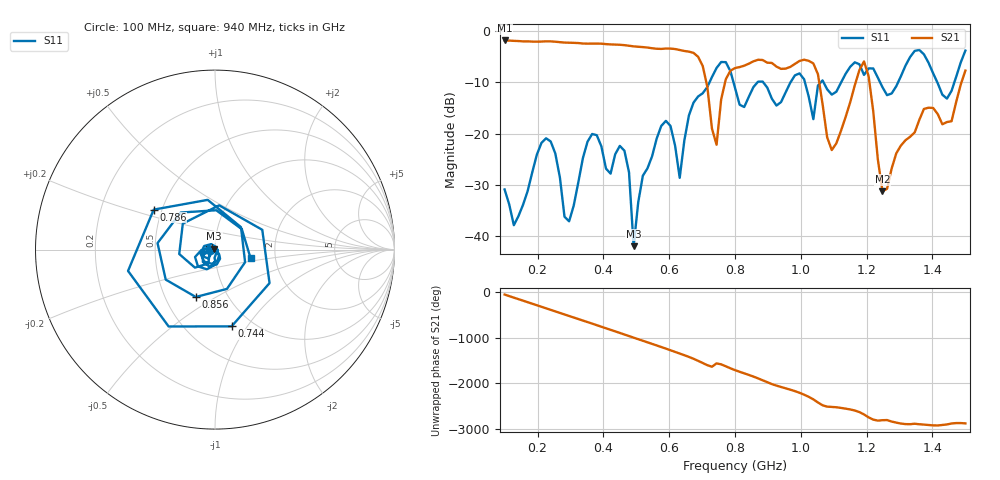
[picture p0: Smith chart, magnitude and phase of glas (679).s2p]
! NanoVNA-App
! Date: 2025-09-25 16:00:46
! Start: 100MHz Stop: 1,5GHz Points: 101
! S-Parameter data: F S11 S21 S12 S22
# Hz S RI R 50
!  Frequency  S11_Real  S11_Imag  S21_Real  S21_Imag  S12_Real  S12_Imag  S22_Real  S22_Imag
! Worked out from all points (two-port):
!   101 points, 100 MHz to 1.5 GHz, reference 50 ohm
!   highest |S21| = -1.80 dB at 100 MHz (marker M1); lowest = -31.3 dB at 1.248 GHz (marker M2)
!   |S21| within 3 dB of the highest: start of sweep to 684.4 MHz
!   lowest |S11| = -42.0 dB at 492 MHz (marker M3), VSWR 1.02, Z = 49.5 + j0.592 ohm
!   |S11| at or under -10 dB: start of sweep to 722.4 MHz; 795.5 MHz to 868.1 MHz (72.62 MHz wide, 8.73 % of centre); 885.9 MHz to 968.5 MHz (82.6 MHz wide, 8.91 % of centre) (the widest 3 of 7)
!   S12 and S22 are empty: the file has one direction only
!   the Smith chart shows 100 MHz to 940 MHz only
!   S11 on the Smith chart (normalised r, x): 100 MHz: 0.94, -0.01; 744 MHz: 0.80, -0.85; 786 MHz: 0.45, +0.24; 856 MHz: 0.71, -0.41; 940 MHz: 1.48, -0.14
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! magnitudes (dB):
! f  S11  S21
! 100 MHz  -30.9  -1.8
! 128 MHz  -37.9  -1.9
! 226 MHz  -20.9  -2.0
! 296 MHz  -37.1  -2.2
! 338 MHz  -24.8  -2.4
! 464 MHz  -23.3  -2.7
! 492 MHz  -42.0  -3.0
! 576 MHz  -18.5  -3.5
! 632 MHz  -28.7  -3.7
! 702 MHz  -12.1  -6.8
! 744 MHz  -7.2  -22.2
! 786 MHz  -7.8  -7.7
! 800 MHz  -11.1  -7.2
! 856 MHz  -10.9  -5.9
! 940 MHz  -13.8  -7.4
! 996 MHz  -8.2  -5.8
! 1.038 GHz  -17.2  -6.3
! 1.094 GHz  -12.4  -23.2
! 1.192 GHz  -8.5  -5.9
! 1.248 GHz  -10.9  -31.3
! 1.276 GHz  -12.2  -26.8
! 1.5 GHz  -3.8  -7.7
